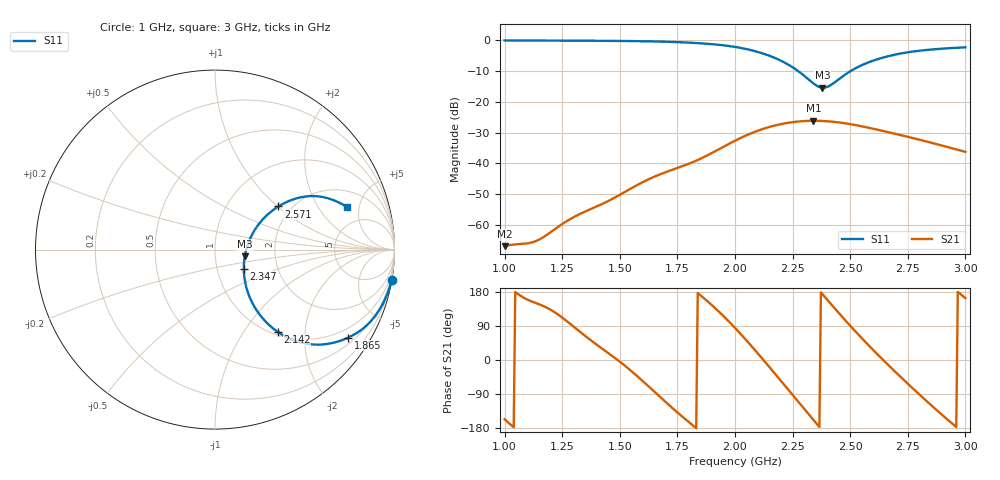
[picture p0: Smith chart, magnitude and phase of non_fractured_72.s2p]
! TOUCHSTONE file generated by CST MICROWAVE STUDIO
! Date and time: Sat Mar  8 13:54:29 2025
! Project name: non_fractured.cst
! Parameters = {B=2.5; D=160; F=25; Feed=2.85625; L=100; M=5; R=0.384908; S=1.5; Theta=270; length=57.125; wave=114.25}
! Header version: 2024
! Port assignment regex: !\s*Touchstone port\s*([0-9]+)\s*=\s*(CST MWS port|CST DES external port|CST DES block port)\s*(.+)\s* \(\"(.*)\"\)(\s*mode\s*([0-9]+))?.*
! Touchstone port assignment:
! Touchstone port 1 = CST MWS port 1 ("")
! Touchstone port 2 = CST MWS port 2 ("")
# GHz S DB R 50
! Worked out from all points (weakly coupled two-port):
!   304 points, 1 GHz to 3 GHz, reference 50 ohm
!   highest |S21| = -26.16 dB at 2.34 GHz (marker M1); lowest = -67.0 dB at 1 GHz (marker M2)
!   lowest |S11| = -15.4 dB at 2.38 GHz (marker M3), VSWR 1.41, Z = 69.7 - j5.3 ohm
!   |S11| at or under -10 dB: 2.274 GHz to 2.501 GHz (227.1 MHz wide, 9.51 % of centre)
!   S12 and S22 are empty: the file has one direction only
!   S11 on the Smith chart (normalised r, x): 1 GHz: 0, -12; 1.865 GHz: 0.68, -3.20; 2.142 GHz: 1.05, -1.45; 2.347 GHz: 1.35, -0.29; 2.571 GHz: 1.72, +1.01; 3 GHz: 3.17, +3.73
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1  -0.02 -9.7  -66.97 -156.3  -200.00 0.0  -200.00 0.0
1.10561  -0.03 -11.2  -65.97 157.5  -200.00 0.0  -200.00 0.0
1.13861  -0.04 -11.7  -65.23 149.6  -200.00 0.0  -200.00 0.0
1.27063  -0.07 -13.9  -58.79 102.3  -200.00 0.0  -200.00 0.0
1.33663  -0.09 -15.2  -56.15 69.9  -200.00 0.0  -200.00 0.0
1.44224  -0.14 -17.4  -52.57 21.6  -200.00 0.0  -200.00 0.0
1.58746  -0.26 -21.4  -46.60 -48.9  -200.00 0.0  -200.00 0.0
1.66667  -0.37 -24.1  -43.84 -93.0  -200.00 0.0  -200.00 0.0
1.86469  -1.02 -33.4  -37.99 163.3  -200.00 0.0  -200.00 0.0
2.0033  -2.16 -42.8  -32.52 82.7  -200.00 0.0  -200.00 0.0
2.07591  -3.29 -48.3  -30.06 33.7  -200.00 0.0  -200.00 0.0
2.14191  -4.79 -52.7  -28.33 -13.3  -200.00 0.0  -200.00 0.0
2.24092  -8.32 -55.4  -26.69 -85.6  -200.00 0.0  -200.00 0.0
2.33993  -13.97 -36.6  -26.16 -157.8  -200.00 0.0  -200.00 0.0
2.34653  -14.33 -33.3  -26.16 -162.6  -200.00 0.0  -200.00 0.0
2.37954  -15.39 -12.6  -26.22 173.8  -200.00 0.0  -200.00 0.0
2.41254  -14.68 8.7  -26.39 150.4  -200.00 0.0  -200.00 0.0
2.49835  -10.14 32.1  -27.23 91.6  -200.00 0.0  -200.00 0.0
2.57096  -7.39 34.3  -28.28 44.4  -200.00 0.0  -200.00 0.0
2.66997  -5.05 31.4  -29.96 -16.1  -200.00 0.0  -200.00 0.0
2.82178  -3.19 24.3  -32.71 -103.0  -200.00 0.0  -200.00 0.0
3  -2.25 18.0  -36.27 163.3  -200.00 0.0  -200.00 0.0
